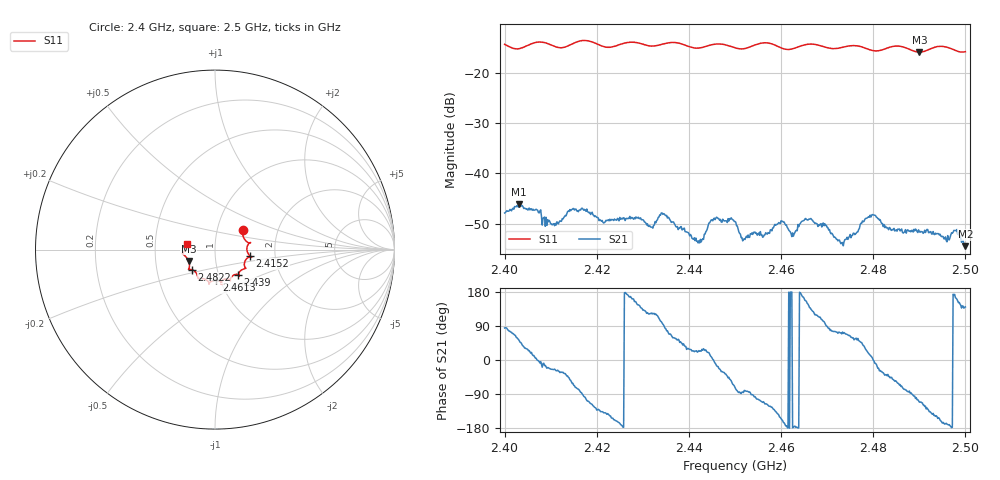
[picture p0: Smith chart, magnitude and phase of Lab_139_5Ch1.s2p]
# Hz S RI R
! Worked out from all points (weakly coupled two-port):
!   601 points, 2.4 GHz to 2.5 GHz, reference 50 ohm
!   highest |S21| = -46.17 dB at 2.4032 GHz (marker M1); lowest = -54.5 dB at 2.5 GHz (marker M2)
!   lowest |S11| = -15.9 dB at 2.49 GHz (marker M3), VSWR 1.38, Z = 36.9 - j4.84 ohm
!   |S11| at or under -10 dB: start of sweep to end of sweep
!   S12 and S22 are empty: the file has one direction only
!   S11 on the Smith chart (normalised r, x): 2.4 GHz: 1.33, +0.31; 2.4152 GHz: 1.48, -0.11; 2.439 GHz: 1.24, -0.36; 2.4613 GHz: 0.96, -0.34; 2.4822 GHz: 0.76, -0.17; 2.5 GHz: 0.72, +0.05
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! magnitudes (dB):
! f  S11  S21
! 2.4 GHz  -14.3  -47.9
! 2.4032 GHz  -15.2  -46.2
! 2.4107 GHz  -14.7  -50.0
! 2.4152 GHz  -14.1  -47.3
! 2.4167 GHz  -13.6  -47.0
! 2.4213 GHz  -14.8  -49.7
! 2.4333 GHz  -14.5  -48.7
! 2.439 GHz  -14.4  -50.9
! 2.4422 GHz  -15.1  -53.4
! 2.4453 GHz  -14.4  -49.1
! 2.45 GHz  -15.0  -49.6
! 2.4518 GHz  -15.2  -53.1
! 2.4613 GHz  -15.4  -50.7
! 2.4627 GHz  -15.2  -52.5
! 2.4667 GHz  -14.3  -49.2
! 2.4732 GHz  -15.0  -53.8
! 2.4795 GHz  -15.5  -48.7
! 2.4822 GHz  -15.4  -50.6
! 2.4833 GHz  -15.0  -51.2
! 2.49 GHz  -15.9  -51.6
! 2.498 GHz  -15.6  -51.4
! 2.5 GHz  -15.8  -54.5
